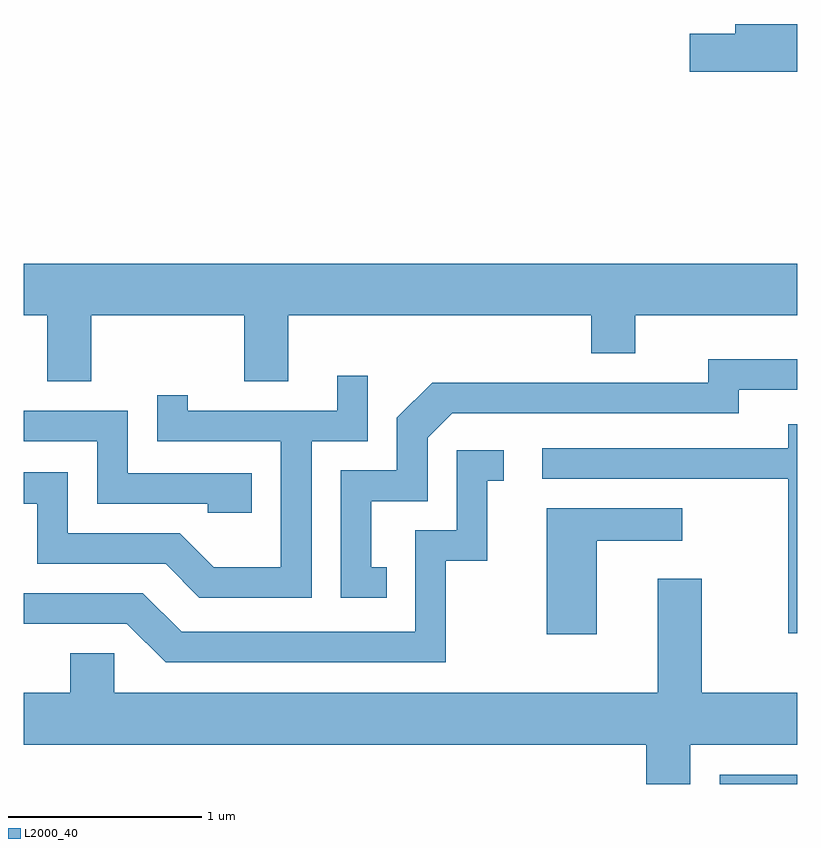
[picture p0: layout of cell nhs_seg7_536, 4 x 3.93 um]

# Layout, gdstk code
import gdstk
lib = gdstk.Library(unit=1e-6, precision=1e-09)
def R(c, l, rs):  # rectangles x0, y0, x1, y1
    for r in rs: c.add(gdstk.rectangle(r[:2], r[2:], *l))
def P(c, l, *ps):  # polygons
    for p in ps: c.add(gdstk.Polygon(p, *l))
L2000_40 = (2000, 40)

nhs_seg7_536 = lib.new_cell('nhs_seg7_536')
R(nhs_seg7_536, L2000_40, [(203.211,1796.252,203.611,1796.299)])
P(nhs_seg7_536, L2000_40, [(203.611,1800.184),(203.291,1800.184),(203.291,1800.134),(203.056,1800.134),(203.056,1799.936),(203.611,1799.936)],
  [(199.959,1798.676),(200.751,1798.676),(200.751,1798.336),(200.979,1798.336),(200.979,1798.676),(202.546,1798.676),(202.546,1798.481),(202.774,1798.481),(202.774,1798.676),(203.611,1798.676),(203.611,1798.944),(199.611,1798.944),(199.611,1798.676),(199.731,1798.676),(199.731,1798.336),(199.959,1798.336)],
  [(201.488,1797.374),(201.409,1797.374),(201.409,1797.716),(201.699,1797.716),(201.699,1798.044),(201.827,1798.171),(203.309,1798.171),(203.309,1798.291),(203.611,1798.291),(203.611,1798.449),(203.151,1798.449),(203.151,1798.329),(201.724,1798.329),(201.541,1798.147),(201.541,1797.874),(201.251,1797.874),(201.251,1797.216),(201.488,1797.216)],
  [(201.099,1798.026),(201.389,1798.026),(201.389,1798.363),(201.231,1798.363),(201.231,1798.184),(200.459,1798.184),(200.459,1798.263),(200.301,1798.263),(200.301,1798.026),(200.941,1798.026),(200.941,1797.374),(200.592,1797.374),(200.417,1797.549),(199.839,1797.549),(199.839,1797.864),(199.611,1797.864),(199.611,1797.701),(199.681,1797.701),(199.681,1797.391),(200.344,1797.391),(200.519,1797.216),(201.099,1797.216)],
  [(200.789,1797.859),(200.149,1797.859),(200.149,1798.184),(199.611,1798.184),(199.611,1798.026),(199.991,1798.026),(199.991,1797.701),(200.561,1797.701),(200.561,1797.656),(200.789,1797.656)],
  [(203.611,1798.113),(203.566,1798.113),(203.566,1797.989),(202.293,1797.989),(202.293,1797.831),(203.566,1797.831),(203.566,1797.033),(203.611,1797.033)],
  [(201.794,1797.406),(202.009,1797.406),(202.009,1797.821),(202.093,1797.821),(202.093,1797.979),(201.851,1797.979),(201.851,1797.564),(201.636,1797.564),(201.636,1797.039),(200.427,1797.039),(200.227,1797.239),(199.611,1797.239),(199.611,1797.081),(200.144,1797.081),(200.344,1796.881),(201.794,1796.881)],
  [(202.574,1797.511),(203.018,1797.511),(203.018,1797.679),(202.316,1797.679),(202.316,1797.026),(202.574,1797.026)],
  [(203.059,1796.456),(203.611,1796.456),(203.611,1796.724),(203.119,1796.724),(203.119,1797.314),(202.891,1797.314),(202.891,1796.724),(200.079,1796.724),(200.079,1796.929),(199.851,1796.929),(199.851,1796.724),(199.611,1796.724),(199.611,1796.456),(202.831,1796.456),(202.831,1796.252),(203.059,1796.252)])

lib.write_gds('nhs_seg7_536.gds')
